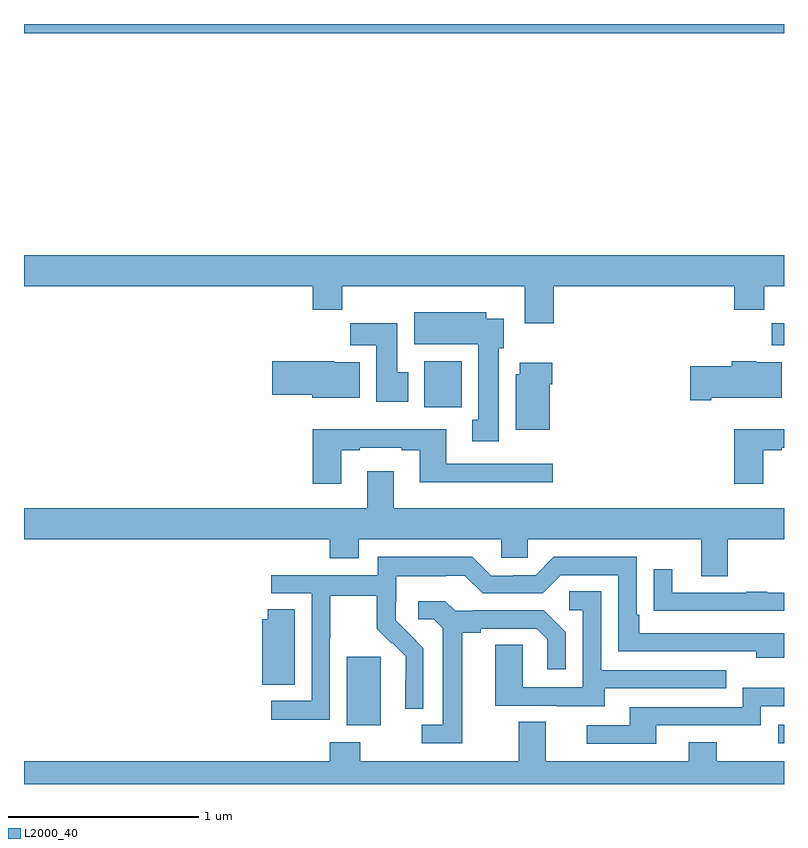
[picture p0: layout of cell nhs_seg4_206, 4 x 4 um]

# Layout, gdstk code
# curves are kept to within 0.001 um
import gdstk
lib = gdstk.Library(unit=1e-6, precision=1e-09)
def R(c, l, rs):  # rectangles x0, y0, x1, y1
    for r in rs: c.add(gdstk.rectangle(r[:2], r[2:], *l))
def P(c, l, *ps):  # polygons
    for p in ps: c.add(gdstk.Polygon(p, *l))
L2000_40 = (2000, 40)

nhs_seg4_206 = lib.new_cell('nhs_seg4_206')
R(nhs_seg4_206, L2000_40, [(124.971,761.115,125,761.211), (122.699,761.21,122.878,761.571), (123.107,762.884,123.304,763.126), (124.936,763.208,125,763.326), (121,764.852,125,764.9)])
P(nhs_seg4_206, L2000_40, [(123.788,763.52),(124.739,763.52),(124.739,763.396),(124.895,763.396),(124.895,763.52),(125,763.52),(125,763.684),(121,763.684),(121,763.52),(122.519,763.52),(122.519,763.396),(122.675,763.396),(122.675,763.52),(123.635,763.52),(123.635,763.326),(123.788,763.326)],
  [(123.499,763.194),(123.526,763.194),(123.526,763.348),(123.433,763.348),(123.433,763.384),(123.053,763.384),(123.053,763.214),(123.392,763.214),(123.392,762.818),(123.359,762.818),(123.359,762.705),(123.499,762.705)],
  [(123.022,763.068),(122.965,763.068),(122.965,763.326),(122.716,763.326),(122.716,763.208),(122.855,763.208),(122.855,762.912),(123.022,762.912)],
  [(122.767,763.12),(122.634,763.12),(122.634,763.126),(122.307,763.126),(122.307,762.95),(122.516,762.95),(122.516,762.932),(122.767,762.932)],
  [(124.618,762.932),(124.987,762.932),(124.987,763.12),(124.854,763.12),(124.854,763.126),(124.724,763.126),(124.724,763.098),(124.506,763.098),(124.506,762.92),(124.618,762.92)],
  [(123.766,763.004),(123.779,763.004),(123.779,763.117),(123.608,763.117),(123.608,763.056),(123.587,763.056),(123.587,762.764),(123.766,762.764)],
  [(124.891,762.657),(124.987,762.657),(124.987,762.669),(125,762.669),(125,762.766),(124.739,762.766),(124.739,762.48),(124.891,762.48)],
  [(122.671,762.657),(122.767,762.657),(122.767,762.669),(122.987,762.669),(122.987,762.657),(123.083,762.657),(123.083,762.488),(123.784,762.488),(123.784,762.585),(123.223,762.585),(123.223,762.766),(122.519,762.766),(122.519,762.48),(122.671,762.48)],
  [(124.705,762.188),(125,762.188),(125,762.352),(122.947,762.352),(122.947,762.547),(122.807,762.547),(122.807,762.352),(121,762.352),(121,762.188),(122.609,762.188),(122.609,762.089),(122.761,762.089),(122.761,762.188),(123.513,762.188),(123.513,762.09),(123.651,762.09),(123.651,762.188),(124.565,762.188),(124.565,761.994),(124.705,761.994)],
  [(122.61,761.668),(122.613,761.668),(122.613,761.892),(122.857,761.892),(122.857,761.717),(122.934,761.64),(122.937,761.643),(123.008,761.573),(123.008,761.45),(123.006,761.45),(123.006,761.296),(123.102,761.296),(123.102,761.614),(122.956,761.762),(122.956,761.859),(122.958,761.859),(122.958,761.993),(123.221,761.993),(123.221,761.997),(123.321,761.997),(123.414,761.904),(123.729,761.904),(123.825,762),(124.128,762),(124.128,761.598),(124.853,761.598),(124.853,761.564),(125,761.564),(125,761.694),(124.237,761.694),(124.237,761.791),(124.224,761.791),(124.224,762.096),(123.789,762.096),(123.693,762),(123.575,762),(123.575,761.997),(123.459,761.997),(123.359,762.097),(122.862,762.097),(122.862,762),(122.301,762),(122.301,761.904),(122.514,761.904),(122.514,761.337),(122.301,761.337),(122.301,761.239),(122.61,761.239)],
  [(125,761.907),(124.913,761.907),(124.913,761.912),(124.801,761.912),(124.801,761.907),(124.411,761.907),(124.411,762.031),(124.315,762.031),(124.315,761.812),(124.417,761.812),(124.417,761.811),(125,761.811)],
  [(124.057,761.403),(124.697,761.403),(124.697,761.499),(124.038,761.499),(124.038,761.915),(123.87,761.915),(123.87,761.814),(123.942,761.814),(123.942,761.409),(123.624,761.409),(123.624,761.633),(123.479,761.633),(123.479,761.313),(123.803,761.313),(123.803,761.309),(124.057,761.309)],
  [(123.307,761.696),(123.403,761.696),(123.403,761.718),(123.698,761.718),(123.755,761.661),(123.755,761.505),(123.852,761.505),(123.852,761.698),(123.736,761.814),(123.364,761.814),(123.364,761.811),(123.27,761.811),(123.218,761.863),(123.075,761.863),(123.075,761.766),(123.156,761.766),(123.203,761.719),(123.203,761.211),(123.093,761.211),(123.093,761.115),(123.307,761.115)],
  [(122.425,761.819),(122.282,761.819),(122.282,761.766),(122.255,761.766),(122.255,761.422),(122.425,761.422)],
  [(124.327,761.208),(124.878,761.208),(124.878,761.31),(125,761.31),(125,761.407),(124.782,761.407),(124.782,761.304),(124.187,761.304),(124.187,761.208),(123.963,761.208),(123.963,761.112),(124.327,761.112)],
  [(125,761.02),(124.647,761.02),(124.647,761.119),(124.499,761.119),(124.499,761.02),(123.745,761.02),(123.745,761.228),(123.605,761.228),(123.605,761.02),(122.769,761.02),(122.769,761.119),(122.609,761.119),(122.609,761.02),(121,761.02),(121,760.9),(125,760.9)])

lib.write_gds('nhs_seg4_206.gds')
